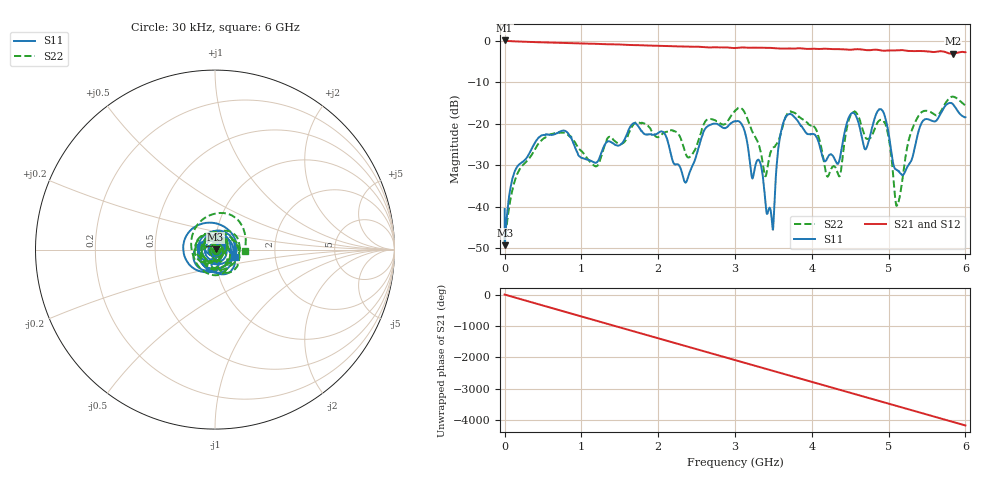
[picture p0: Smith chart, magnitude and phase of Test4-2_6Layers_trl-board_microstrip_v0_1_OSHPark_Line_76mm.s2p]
! Touchstone 1.1 file saved by VNA QT V0.2.3.0
! Sun Jul 18 21:29:09 2021
! HEWLETT PACKARD,8753D,0,6.14 OPT: 002 006 010
! IF bandwidth: 3000 Hz
! Output power level: 0.000000 dBm
! Smoothing OFF
! Averaging OFF
! Correction ON
! Params: S11 S21 S12 S22
! Start frequency: 0.000030000 GHz
! Stop frequency:  6.000000000 GHz
! Points: 1601
# HZ S DB R 50
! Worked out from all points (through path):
!   1601 points, 30 kHz to 6 GHz, reference 50 ohm
!   highest |S21| = 0.05 dB at 30 kHz (marker M1); lowest = -3.2 dB at 5.839 GHz (marker M2)
!   group delay of S21, straight-line fit = 1.93 ns
!   lowest |S11| = -49.3 dB at 3.78 MHz (marker M3), VSWR 1.01, Z = 50.3 + j0.102 ohm
!   |S11| at or under -10 dB: start of sweep to end of sweep
!   |S22| runs from -49.5 to -13.5 dB; largest |S21 - S12| = 0.027
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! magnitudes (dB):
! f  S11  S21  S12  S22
! 30 kHz  -40.6  0.0  0.0  -47.2
! 3.78 MHz  -49.3  0.0  0.0  -49.5
! 153.8 MHz  -30.6  -0.2  -0.2  -32.6
! 457.5 MHz  -23.1  -0.4  -0.4  -24.4
! 1.001 GHz  -28.2  -0.7  -0.7  -26.6
! 2.003 GHz  -22.2  -1.2  -1.3  -23.2
! 2.359 GHz  -34.2  -1.4  -1.4  -27.3
! 2.625 GHz  -20.9  -1.6  -1.6  -19.2
! 3 GHz  -19.4  -1.8  -1.7  -16.8
! 3.39 GHz  -37.7  -1.7  -1.7  -32.6
! 3.476 GHz  -42.6  -1.8  -1.7  -26.3
! 3.653 GHz  -18.6  -1.9  -1.8  -18.7
! 4.001 GHz  -22.5  -2.0  -1.9  -20.3
! 4.208 GHz  -28.1  -2.0  -2.0  -32.8
! 4.365 GHz  -28.4  -2.1  -2.0  -32.6
! 4.541 GHz  -17.4  -2.1  -2.1  -17.2
! 4.695 GHz  -26.2  -2.2  -2.1  -23.2
! 5.003 GHz  -22.6  -2.4  -2.3  -23.5
! 5.119 GHz  -31.3  -2.3  -2.3  -39.3
! 5.366 GHz  -23.5  -2.5  -2.5  -18.9
! 5.839 GHz  -15.3  -3.2  -3.1  -13.5
! 6 GHz  -18.4  -2.8  -3.0  -15.6
